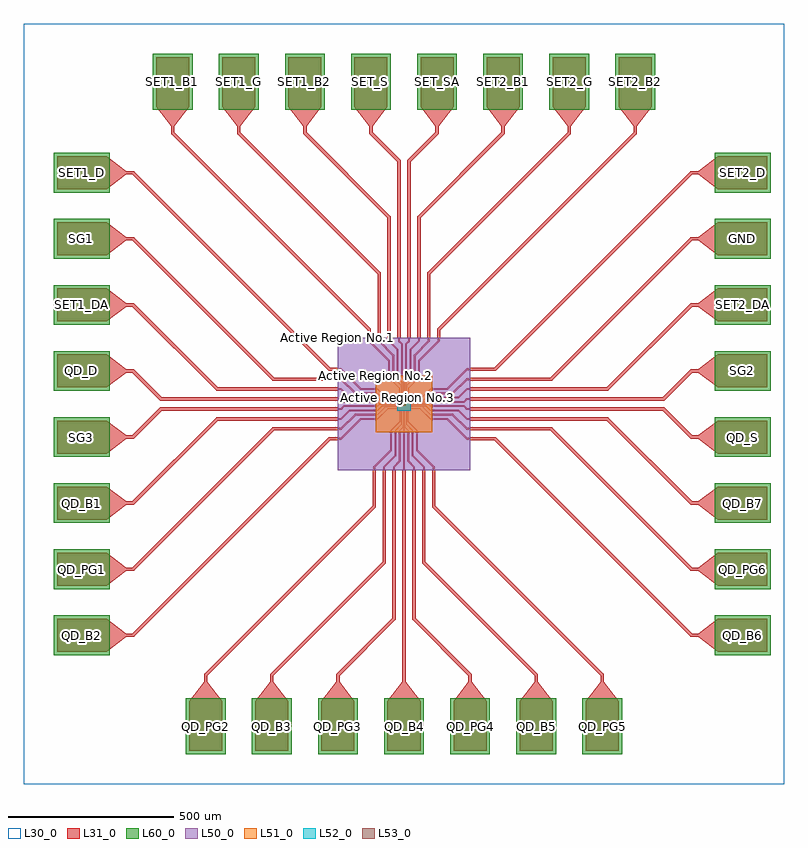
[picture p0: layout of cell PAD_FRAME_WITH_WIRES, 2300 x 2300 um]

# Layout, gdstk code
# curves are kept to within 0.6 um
import gdstk
lib = gdstk.Library(unit=1e-6, precision=1e-09)
def R(c, l, rs):  # rectangles x0, y0, x1, y1
    for r in rs: c.add(gdstk.rectangle(r[:2], r[2:], *l))
def A(c, l, x, y, w, h, nx, ny, dx, dy):  # array of equal rectangles
    R(c, l, [(x+i*dx, y+j*dy, x+i*dx+w, y+j*dy+h) for i in range(nx) for j in range(ny)])
def P(c, l, *ps):  # polygons
    for p in ps: c.add(gdstk.Polygon(p, *l))
L30_0 = (30, 0)
L31_0 = (31, 0)
L50_0 = (50, 0)
L51_0 = (51, 0)
L52_0 = (52, 0)
L53_0 = (53, 0)
L60_0 = (60, 0)

pad_frame_with_wires = lib.new_cell('PAD_FRAME_WITH_WIRES')
R(pad_frame_with_wires, L30_0, [(0,0,2300,2300)])
A(pad_frame_with_wires, L31_0, 500, 100, 100, 150, 7, 1, 200, 0)
A(pad_frame_with_wires, L31_0, 100, 400, 150, 100, 1, 8, 0, 200)
A(pad_frame_with_wires, L31_0, 2100, 400, 150, 100, 1, 8, 0, 200)
A(pad_frame_with_wires, L31_0, 400, 2050, 100, 150, 8, 1, 200, 0)
P(pad_frame_with_wires, L31_0, [(400,2050),(500,2050),(455,1990),(445,1990)],
  [(600,2050),(700,2050),(655,1990),(645,1990)],
  [(800,2050),(900,2050),(855,1990),(845,1990)],
  [(1000,2050),(1100,2050),(1055,1990),(1045,1990)],
  [(1200,2050),(1300,2050),(1255,1990),(1245,1990)],
  [(1400,2050),(1500,2050),(1455,1990),(1445,1990)],
  [(1600,2050),(1700,2050),(1655,1990),(1645,1990)],
  [(1800,2050),(1900,2050),(1855,1990),(1845,1990)],
  [(500,250),(600,250),(555,310),(545,310)],
  [(700,250),(800,250),(755,310),(745,310)],
  [(900,250),(1000,250),(955,310),(945,310)],
  [(1100,250),(1200,250),(1155,310),(1145,310)],
  [(1300,250),(1400,250),(1355,310),(1345,310)],
  [(1500,250),(1600,250),(1555,310),(1545,310)],
  [(1700,250),(1800,250),(1755,310),(1745,310)],
  [(250,1800),(250,1900),(310,1855),(310,1845)],
  [(250,1600),(250,1700),(310,1655),(310,1645)],
  [(250,1400),(250,1500),(310,1455),(310,1445)],
  [(250,1200),(250,1300),(310,1255),(310,1245)],
  [(250,1000),(250,1100),(310,1055),(310,1045)],
  [(250,800),(250,900),(310,855),(310,845)],
  [(250,600),(250,700),(310,655),(310,645)],
  [(250,400),(250,500),(310,455),(310,445)],
  [(2100,1800),(2100,1900),(2040,1855),(2040,1845)],
  [(2100,1600),(2100,1700),(2040,1655),(2040,1645)],
  [(2100,1400),(2100,1500),(2040,1455),(2040,1445)],
  [(2100,1200),(2100,1300),(2040,1255),(2040,1245)],
  [(2100,1000),(2100,1100),(2040,1055),(2040,1045)],
  [(2100,800),(2100,900),(2040,855),(2040,845)],
  [(2100,600),(2100,700),(2040,655),(2040,645)],
  [(2100,400),(2100,500),(2040,455),(2040,445)],
  [(455,1990),(445,1990),(445,1970),(446.464,1966.464),(1040,1372.929),(1040,1350),(1050,1350),(1050,1375),(1048.536,1378.536),(455,1972.071)],
  [(1047.5,1350),(1042.5,1350),(1042.921,1338.611),(1102,1279.464),(1102,1235),(1107,1235),(1106.81,1281.457),(1047.5,1341.036)],
  [(1105,1235),(1104,1235),(1104,1230),(1104.146,1229.646),(1135.5,1198.293),(1135.5,1170),(1136.5,1170),(1136.433,1198.75),(1105,1230.207)],
  [(1136.1,1170),(1135.9,1170),(1135.9,1168),(1135.929,1167.929),(1147.45,1156.409),(1147.45,1155),(1147.65,1155),(1147.65,1156.45),(1147.621,1156.521),(1136.1,1168.041)],
  [(655,1990),(645,1990),(645,1970),(646.464,1966.464),(1070,1542.929),(1070,1350),(1080,1350),(1080,1545),(1079.33,1547.5),(655,1972.071)],
  [(1077.5,1350),(1072.5,1350),(1072.921,1338.611),(1115,1296.464),(1115,1235),(1120,1235),(1119.81,1298.457),(1077.5,1341.036)],
  [(1118,1235),(1117,1235),(1117,1230),(1117.146,1229.646),(1139.5,1207.293),(1139.5,1170),(1140.5,1170),(1140.483,1207.629),(1118,1230.207)],
  [(1140.1,1170),(1139.9,1170),(1139.9,1168),(1139.929,1167.929),(1148.15,1159.709),(1148.15,1155),(1148.35,1155),(1148.337,1159.8),(1140.1,1168.041)],
  [(855,1990),(845,1990),(845,1970),(846.464,1966.464),(1100,1712.929),(1100,1350),(1110,1350),(1109.619,1716.913),(855,1972.071)],
  [(1107.5,1350),(1102.5,1350),(1102.921,1338.611),(1128,1313.464),(1128,1235),(1133,1235),(1132.952,1314.988),(1107.5,1341.036)],
  [(1131,1235),(1130,1235),(1130.067,1229.75),(1143.5,1216.293),(1143.5,1170),(1144.5,1170),(1144.483,1216.629),(1131,1230.207)],
  [(1144.1,1170),(1143.9,1170),(1143.913,1167.95),(1148.85,1163.009),(1148.85,1155),(1149.05,1155),(1149.047,1163.076),(1144.1,1168.041)],
  [(1055,1990),(1045,1990),(1045,1970),(1046.033,1966.956),(1130,1882.929),(1130,1350),(1140,1350),(1139.957,1885.653),(1138.536,1888.536),(1055,1972.071)],
  [(1137.5,1350),(1132.5,1350),(1132.5,1340),(1133.232,1338.232),(1141,1330.464),(1141,1235),(1146,1235),(1146,1331.5),(1145.268,1333.268),(1137.5,1341.036)],
  [(1144,1235),(1143,1235),(1143.017,1229.871),(1147.5,1225.293),(1147.5,1170),(1148.5,1170),(1148.5,1225.5),(1148.354,1225.854),(1144,1230.207)],
  [(1148.1,1170),(1147.9,1170),(1147.903,1167.974),(1149.55,1166.309),(1149.55,1155),(1149.75,1155),(1149.75,1166.35),(1149.721,1166.421),(1148.1,1168.041)],
  [(1255,1990),(1245,1990),(1245,1972.071),(1161.464,1888.536),(1160.043,1885.653),(1160,1350),(1170,1350),(1170,1882.929),(1253.967,1966.956),(1255,1970)],
  [(1167.5,1350),(1162.5,1350),(1162.5,1341.036),(1154.048,1331.988),(1154,1235),(1159,1235),(1159,1330.464),(1167.31,1339.043)],
  [(1157,1235),(1156,1235),(1156,1230.207),(1151.646,1225.854),(1151.5,1225.5),(1151.5,1170),(1152.5,1170),(1152.5,1225.293),(1156.933,1229.75)],
  [(1152.1,1170),(1151.9,1170),(1151.9,1168.041),(1150.253,1166.376),(1150.25,1155),(1150.45,1155),(1150.45,1166.309),(1152.087,1167.95)],
  [(1455,1990),(1445,1990),(1445,1972.071),(1190.381,1716.913),(1190,1350),(1200,1350),(1200,1712.929),(1453.536,1966.464),(1455,1970)],
  [(1197.5,1350),(1192.5,1350),(1192.5,1341.036),(1167.048,1314.988),(1167,1235),(1172,1235),(1172,1313.464),(1197.079,1338.611)],
  [(1170,1235),(1169,1235),(1169,1230.207),(1155.517,1216.629),(1155.5,1170),(1156.5,1170),(1156.5,1216.293),(1169.933,1229.75)],
  [(1156.1,1170),(1155.9,1170),(1155.9,1168.041),(1150.953,1163.076),(1150.95,1155),(1151.15,1155),(1151.15,1163.009),(1156.087,1167.95)],
  [(1655,1990),(1645,1990),(1645,1972.071),(1221.033,1548.044),(1220,1545),(1220,1350),(1230,1350),(1230,1542.929),(1653.536,1966.464),(1655,1970)],
  [(1227.5,1350),(1222.5,1350),(1222.5,1341.036),(1180.19,1298.457),(1180,1235),(1185,1235),(1185,1296.464),(1227.079,1338.611)],
  [(1183,1235),(1182,1235),(1182,1230.207),(1159.517,1207.629),(1159.5,1170),(1160.5,1170),(1160.5,1207.293),(1182.854,1229.646),(1183,1230)],
  [(1160.1,1170),(1159.9,1170),(1159.9,1168.041),(1151.663,1159.8),(1151.65,1155),(1151.85,1155),(1151.85,1159.709),(1160.071,1167.929),(1160.1,1168)],
  [(1855,1990),(1845,1990),(1845,1972.071),(1251.464,1378.536),(1250,1375),(1250,1350),(1260,1350),(1260,1372.929),(1853.536,1966.464),(1855,1970)],
  [(1257.5,1350),(1252.5,1350),(1252.5,1341.036),(1193.421,1281.889),(1193,1235),(1198,1235),(1198,1279.464),(1256.768,1338.232),(1257.5,1340)],
  [(1196,1235),(1195,1235),(1195,1230.207),(1163.567,1198.75),(1163.5,1170),(1164.5,1170),(1164.5,1198.293),(1195.854,1229.646),(1196,1230)],
  [(1164.1,1170),(1163.9,1170),(1163.9,1168.041),(1152.379,1156.521),(1152.35,1156.45),(1152.35,1155),(1152.55,1155),(1152.55,1156.409),(1164.071,1167.929),(1164.1,1168)],
  [(545,310),(555,310),(555,327.929),(1063.967,836.956),(1065,840),(1065,950),(1055,950),(1055,842.071),(546.464,333.536),(545,330)],
  [(1057.5,950),(1062.5,950),(1062.5,958.964),(1113.31,1010.043),(1113.5,1065),(1108.5,1065),(1108.5,1012.036),(1058.232,961.768),(1057.5,960)],
  [(1110.5,1065),(1111.5,1065),(1111.5,1069.793),(1138.433,1096.75),(1138.5,1130),(1137.5,1130),(1137.5,1097.207),(1110.646,1070.354),(1110.5,1070)],
  [(1137.9,1130),(1138.1,1130),(1138.1,1131.959),(1147.987,1141.85),(1148,1145),(1147.8,1145),(1147.8,1141.941),(1137.929,1132.071),(1137.9,1132)],
  [(745,310),(755,310),(755,327.929),(1094.33,667.5),(1095,670),(1095,950),(1085,950),(1085,672.071),(746.464,333.536),(745,330)],
  [(1087.5,950),(1092.5,950),(1092.5,958.964),(1126.31,993.043),(1126.5,1065),(1121.5,1065),(1121.5,995.036),(1087.921,961.389)],
  [(1123.5,1065),(1124.5,1065),(1124.5,1069.793),(1142.483,1087.871),(1142.5,1130),(1141.5,1130),(1141.5,1088.207),(1123.646,1070.354),(1123.5,1070)],
  [(1141.9,1130),(1142.1,1130),(1142.1,1131.959),(1148.687,1138.55),(1148.7,1145),(1148.5,1145),(1148.5,1138.641),(1141.929,1132.071),(1141.9,1132)],
  [(945,310),(955,310),(955,327.929),(1123.536,496.464),(1124.83,498.706),(1125,950),(1115,950),(1115,502.071),(946.464,333.536),(945,330)],
  [(1117.5,950),(1122.5,950),(1122.5,958.964),(1139.452,976.512),(1139.5,1065),(1134.5,1065),(1134.5,978.036),(1117.921,961.389)],
  [(1136.5,1065),(1137.5,1065),(1137.5,1069.793),(1146.483,1078.871),(1146.5,1130),(1145.5,1130),(1145.5,1079.207),(1136.567,1070.25)],
  [(1145.9,1130),(1146.1,1130),(1146.1,1131.959),(1149.397,1135.274),(1149.4,1145),(1149.2,1145),(1149.2,1135.341),(1145.913,1132.05)],
  [(1145,310),(1155,310),(1155,330),(1155,330),(1155,330),(1155,330),(1155,950),(1145,950),(1145,330),(1145,330),(1145,330),(1145,330)],
  [(1147.5,950),(1152.5,950),(1152.5,960),(1152.5,960),(1152.5,960),(1152.5,960),(1152.5,1065),(1147.5,1065),(1147.5,960),(1147.5,960),(1147.5,960),(1147.5,960)],
  [(1149.5,1065),(1150.5,1065),(1150.5,1070),(1150.5,1070),(1150.5,1070),(1150.5,1070),(1150.5,1130),(1149.5,1130),(1149.5,1070),(1149.5,1070),(1149.5,1070),(1149.5,1070)],
  [(1149.9,1130),(1150.1,1130),(1150.1,1132),(1150.1,1132),(1150.1,1132),(1150.1,1132),(1150.1,1145),(1149.9,1145),(1149.9,1132),(1149.9,1132),(1149.9,1132),(1149.9,1132)],
  [(1345,310),(1355,310),(1355,330),(1353.967,333.044),(1185,502.071),(1185,950),(1175,950),(1175.17,498.706),(1176.464,496.464),(1345,327.929)],
  [(1177.5,950),(1182.5,950),(1182.31,960.957),(1165.5,978.036),(1165.5,1065),(1160.5,1065),(1160.548,976.512),(1177.5,958.964)],
  [(1162.5,1065),(1163.5,1065),(1163.433,1070.25),(1154.5,1079.207),(1154.5,1130),(1153.5,1130),(1153.517,1078.871),(1162.5,1069.793)],
  [(1153.9,1130),(1154.1,1130),(1154.087,1132.05),(1150.8,1135.341),(1150.8,1145),(1150.6,1145),(1150.603,1135.274),(1153.9,1131.959)],
  [(1545,310),(1555,310),(1555,330),(1553.536,333.536),(1215,672.071),(1215,950),(1205,950),(1205,670),(1205.67,667.5),(1545,327.929)],
  [(1207.5,950),(1212.5,950),(1212.079,961.389),(1178.5,995.036),(1178.5,1065),(1173.5,1065),(1173.548,993.512),(1207.5,958.964)],
  [(1175.5,1065),(1176.5,1065),(1176.433,1070.25),(1158.5,1088.207),(1158.5,1130),(1157.5,1130),(1157.517,1087.871),(1175.5,1069.793)],
  [(1157.9,1130),(1158.1,1130),(1158.087,1132.05),(1151.5,1138.641),(1151.5,1145),(1151.3,1145),(1151.313,1138.55),(1157.9,1131.959)],
  [(1745,310),(1755,310),(1755,330),(1753.536,333.536),(1245,842.071),(1245,950),(1235,950),(1235,840),(1236.033,836.956),(1745,327.929)],
  [(1237.5,950),(1242.5,950),(1242.079,961.389),(1191.5,1012.036),(1191.5,1065),(1186.5,1065),(1186.69,1010.043),(1237.5,958.964)],
  [(1188.5,1065),(1189.5,1065),(1189.5,1070),(1189.354,1070.354),(1162.5,1097.207),(1162.5,1130),(1161.5,1130),(1161.567,1096.75),(1188.5,1069.793)],
  [(1161.9,1130),(1162.1,1130),(1162.1,1132),(1162.071,1132.071),(1152.2,1141.941),(1152.2,1145),(1152,1145),(1152.013,1141.85),(1161.9,1131.959)],
  [(310,1855),(310,1845),(327.929,1845),(921.464,1251.464),(925,1250),(950,1250),(950,1260),(927.071,1260),(333.536,1853.536),(330,1855)],
  [(950,1257.5),(950,1252.5),(958.964,1252.5),(1018.111,1193.421),(1065,1193),(1065,1198),(1020.536,1198),(961.768,1256.768),(960,1257.5)],
  [(1065,1196),(1065,1195),(1069.793,1195),(1101.25,1163.567),(1130,1163.5),(1130,1164.5),(1101.707,1164.5),(1070.354,1195.854),(1070,1196)],
  [(1130,1164.1),(1130,1163.9),(1131.959,1163.9),(1143.479,1152.379),(1143.55,1152.35),(1145,1152.35),(1145,1152.55),(1143.591,1152.55),(1132.071,1164.071),(1132,1164.1)],
  [(310,1655),(310,1645),(327.929,1645),(751.956,1221.033),(755,1220),(950,1220),(950,1230),(757.071,1230),(333.536,1653.536),(330,1655)],
  [(950,1227.5),(950,1222.5),(958.964,1222.5),(1001.543,1180.19),(1065,1180),(1065,1185),(1003.536,1185),(961.389,1227.079)],
  [(1065,1183),(1065,1182),(1069.793,1182),(1092.371,1159.517),(1130,1159.5),(1130,1160.5),(1092.707,1160.5),(1070.354,1182.854),(1070,1183)],
  [(1130,1160.1),(1130,1159.9),(1131.959,1159.9),(1140.2,1151.663),(1145,1151.65),(1145,1151.85),(1140.291,1151.85),(1132.071,1160.071),(1132,1160.1)],
  [(310,1455),(310,1445),(327.929,1445),(583.087,1190.381),(950,1190),(950,1200),(587.071,1200),(333.536,1453.536),(330,1455)],
  [(950,1197.5),(950,1192.5),(958.964,1192.5),(985.012,1167.048),(1065,1167),(1065,1172),(986.536,1172),(961.389,1197.079)],
  [(1065,1170),(1065,1169),(1069.793,1169),(1083.371,1155.517),(1130,1155.5),(1130,1156.5),(1083.707,1156.5),(1070.25,1169.933)],
  [(1130,1156.1),(1130,1155.9),(1131.959,1155.9),(1136.924,1150.953),(1145,1150.95),(1145,1151.15),(1136.991,1151.15),(1132.05,1156.087)],
  [(310,1255),(310,1245),(327.929,1245),(411.464,1161.464),(414.347,1160.043),(950,1160),(950,1170),(417.071,1170),(333.044,1253.967),(330,1255)],
  [(950,1167.5),(950,1162.5),(958.964,1162.5),(968.012,1154.048),(1065,1154),(1065,1159),(969.536,1159),(960.957,1167.31)],
  [(1065,1157),(1065,1156),(1069.793,1156),(1074.146,1151.646),(1074.5,1151.5),(1130,1151.5),(1130,1152.5),(1074.707,1152.5),(1070.25,1156.933)],
  [(1130,1152.1),(1130,1151.9),(1131.959,1151.9),(1133.624,1150.253),(1145,1150.25),(1145,1150.45),(1133.691,1150.45),(1132.05,1152.087)],
  [(310,1055),(310,1045),(330,1045),(333.044,1046.033),(417.071,1130),(950,1130),(950,1140),(414.347,1139.957),(411.464,1138.536),(327.929,1055)],
  [(950,1137.5),(950,1132.5),(960,1132.5),(961.768,1133.232),(969.536,1141),(1065,1141),(1065,1146),(968.5,1146),(966.732,1145.268),(958.964,1137.5)],
  [(1065,1144),(1065,1143),(1070.129,1143.017),(1074.707,1147.5),(1130,1147.5),(1130,1148.5),(1074.5,1148.5),(1074.146,1148.354),(1069.793,1144)],
  [(1130,1148.1),(1130,1147.9),(1132.026,1147.903),(1133.691,1149.55),(1145,1149.55),(1145,1149.75),(1133.65,1149.75),(1133.579,1149.721),(1131.959,1148.1)],
  [(310,855),(310,845),(330,845),(333.536,846.464),(587.071,1100),(950,1100),(950,1110),(583.087,1109.619),(327.929,855)],
  [(950,1107.5),(950,1102.5),(961.389,1102.921),(986.536,1128),(1065,1128),(1065,1133),(985.012,1132.952),(958.964,1107.5)],
  [(1065,1131),(1065,1130),(1070.25,1130.067),(1083.707,1143.5),(1130,1143.5),(1130,1144.5),(1083.371,1144.483),(1069.793,1131)],
  [(1130,1144.1),(1130,1143.9),(1132.05,1143.913),(1136.991,1148.85),(1145,1148.85),(1145,1149.05),(1136.924,1149.047),(1131.959,1144.1)],
  [(310,655),(310,645),(330,645),(333.536,646.464),(757.071,1070),(950,1070),(950,1080),(755,1080),(752.5,1079.33),(327.929,655)],
  [(950,1077.5),(950,1072.5),(961.389,1072.921),(1003.536,1115),(1065,1115),(1065,1120),(1001.543,1119.81),(958.964,1077.5)],
  [(1065,1118),(1065,1117),(1070,1117),(1070.354,1117.146),(1092.707,1139.5),(1130,1139.5),(1130,1140.5),(1092.371,1140.483),(1069.793,1118)],
  [(1130,1140.1),(1130,1139.9),(1132,1139.9),(1132.071,1139.929),(1140.291,1148.15),(1145,1148.15),(1145,1148.35),(1140.2,1148.337),(1131.959,1140.1)],
  [(310,455),(310,445),(330,445),(333.536,446.464),(927.071,1040),(950,1040),(950,1050),(925,1050),(921.464,1048.536),(327.929,455)],
  [(950,1047.5),(950,1042.5),(961.389,1042.921),(1020.536,1102),(1065,1102),(1065,1107),(1018.543,1106.81),(958.964,1047.5)],
  [(1065,1105),(1065,1104),(1070,1104),(1070.354,1104.146),(1101.707,1135.5),(1130,1135.5),(1130,1136.5),(1101.25,1136.433),(1069.793,1105)],
  [(1130,1136.1),(1130,1135.9),(1132,1135.9),(1132.071,1135.929),(1143.591,1147.45),(1145,1147.45),(1145,1147.65),(1143.55,1147.65),(1143.479,1147.621),(1131.959,1136.1)],
  [(2040,1845),(2040,1855),(2020,1855),(2016.464,1853.536),(1422.929,1260),(1350,1260),(1350,1250),(1425,1250),(1428.044,1251.033),(2022.071,1845)],
  [(1350,1252.5),(1350,1257.5),(1338.611,1257.079),(1279.464,1198),(1235,1198),(1235,1193),(1281.457,1193.19),(1341.036,1252.5)],
  [(1235,1195),(1235,1196),(1230,1196),(1229.646,1195.854),(1198.293,1164.5),(1170,1164.5),(1170,1163.5),(1198.75,1163.567),(1230.207,1195)],
  [(1170,1163.9),(1170,1164.1),(1168,1164.1),(1167.929,1164.071),(1156.409,1152.55),(1155,1152.55),(1155,1152.35),(1156.45,1152.35),(1156.521,1152.379),(1168.041,1163.9)],
  [(2040,1645),(2040,1655),(2020,1655),(2016.464,1653.536),(1592.929,1230),(1350,1230),(1350,1220),(1595,1220),(1597.5,1220.67),(2022.071,1645)],
  [(1350,1222.5),(1350,1227.5),(1338.611,1227.079),(1296.464,1185),(1235,1185),(1235,1180),(1298.457,1180.19),(1341.036,1222.5)],
  [(1235,1182),(1235,1183),(1230,1183),(1229.646,1182.854),(1207.293,1160.5),(1170,1160.5),(1170,1159.5),(1207.629,1159.517),(1230.207,1182)],
  [(1170,1159.9),(1170,1160.1),(1168,1160.1),(1167.929,1160.071),(1159.709,1151.85),(1155,1151.85),(1155,1151.65),(1159.8,1151.663),(1168.041,1159.9)],
  [(2040,1445),(2040,1455),(2020,1455),(2016.464,1453.536),(1762.929,1200),(1350,1200),(1350,1190),(1766.913,1190.381),(2022.071,1445)],
  [(1350,1192.5),(1350,1197.5),(1338.611,1197.079),(1313.464,1172),(1235,1172),(1235,1167),(1314.988,1167.048),(1341.036,1192.5)],
  [(1235,1169),(1235,1170),(1229.75,1169.933),(1216.293,1156.5),(1170,1156.5),(1170,1155.5),(1216.629,1155.517),(1230.207,1169)],
  [(1170,1155.9),(1170,1156.1),(1167.95,1156.087),(1163.009,1151.15),(1155,1151.15),(1155,1150.95),(1163.076,1150.953),(1168.041,1155.9)],
  [(2040,1245),(2040,1255),(2020,1255),(2016.956,1253.967),(1932.929,1170),(1350,1170),(1350,1160),(1935.653,1160.043),(1938.536,1161.464),(2022.071,1245)],
  [(1350,1162.5),(1350,1167.5),(1340,1167.5),(1338.232,1166.768),(1330.464,1159),(1235,1159),(1235,1154),(1331.5,1154),(1333.268,1154.732),(1341.036,1162.5)],
  [(1235,1156),(1235,1157),(1229.871,1156.983),(1225.293,1152.5),(1170,1152.5),(1170,1151.5),(1225.5,1151.5),(1225.854,1151.646),(1230.207,1156)],
  [(1170,1151.9),(1170,1152.1),(1167.974,1152.097),(1166.309,1150.45),(1155,1150.45),(1155,1150.25),(1166.35,1150.25),(1166.421,1150.279),(1168.041,1151.9)],
  [(2040,1045),(2040,1055),(2022.071,1055),(1938.536,1138.536),(1935.653,1139.957),(1350,1140),(1350,1130),(1932.929,1130),(2016.956,1046.033),(2020,1045)],
  [(1350,1132.5),(1350,1137.5),(1341.036,1137.5),(1331.988,1145.952),(1235,1146),(1235,1141),(1330.464,1141),(1339.043,1132.69)],
  [(1235,1143),(1235,1144),(1230.207,1144),(1225.854,1148.354),(1225.5,1148.5),(1170,1148.5),(1170,1147.5),(1225.293,1147.5),(1229.75,1143.067)],
  [(1170,1147.9),(1170,1148.1),(1168.041,1148.1),(1166.376,1149.747),(1155,1149.75),(1155,1149.55),(1166.309,1149.55),(1167.95,1147.913)],
  [(2040,845),(2040,855),(2022.071,855),(1766.913,1109.619),(1350,1110),(1350,1100),(1762.929,1100),(2016.464,846.464),(2020,845)],
  [(1350,1102.5),(1350,1107.5),(1341.036,1107.5),(1314.988,1132.952),(1235,1133),(1235,1128),(1313.464,1128),(1338.611,1102.921)],
  [(1235,1130),(1235,1131),(1230.207,1131),(1216.629,1144.483),(1170,1144.5),(1170,1143.5),(1216.293,1143.5),(1229.75,1130.067)],
  [(1170,1143.9),(1170,1144.1),(1168.041,1144.1),(1163.076,1149.047),(1155,1149.05),(1155,1148.85),(1163.009,1148.85),(1167.95,1143.913)],
  [(2040,645),(2040,655),(2022.071,655),(1597.5,1079.33),(1595,1080),(1350,1080),(1350,1070),(1592.929,1070),(2016.464,646.464),(2020,645)],
  [(1350,1072.5),(1350,1077.5),(1341.036,1077.5),(1298.457,1119.81),(1235,1120),(1235,1115),(1296.464,1115),(1338.611,1072.921)],
  [(1235,1117),(1235,1118),(1230.207,1118),(1207.629,1140.483),(1170,1140.5),(1170,1139.5),(1207.293,1139.5),(1229.646,1117.146),(1230,1117)],
  [(1170,1139.9),(1170,1140.1),(1168.041,1140.1),(1159.8,1148.337),(1155,1148.35),(1155,1148.15),(1159.709,1148.15),(1167.929,1139.929),(1168,1139.9)],
  [(2040,445),(2040,455),(2022.071,455),(1428.536,1048.536),(1425,1050),(1350,1050),(1350,1040),(1422.929,1040),(2016.464,446.464),(2020,445)],
  [(1350,1042.5),(1350,1047.5),(1341.036,1047.5),(1281.889,1106.579),(1235,1107),(1235,1102),(1279.464,1102),(1338.232,1043.232),(1340,1042.5)],
  [(1235,1104),(1235,1105),(1230.207,1105),(1198.75,1136.433),(1170,1136.5),(1170,1135.5),(1198.293,1135.5),(1229.646,1104.146),(1230,1104)],
  [(1170,1135.9),(1170,1136.1),(1168.041,1136.1),(1156.521,1147.621),(1156.45,1147.65),(1155,1147.65),(1155,1147.45),(1156.409,1147.45),(1167.929,1135.929),(1168,1135.9)])
R(pad_frame_with_wires, L50_0, [(950,950,1350,1350)])
R(pad_frame_with_wires, L51_0, [(1065,1065,1235,1235)])
R(pad_frame_with_wires, L52_0, [(1130,1130,1170,1170)])
R(pad_frame_with_wires, L53_0, [(1145,1145,1155,1155)])
A(pad_frame_with_wires, L60_0, 490, 90, 120, 170, 7, 1, 200, 0)
A(pad_frame_with_wires, L60_0, 90, 390, 170, 120, 1, 8, 0, 200)
A(pad_frame_with_wires, L60_0, 2090, 390, 170, 120, 1, 8, 0, 200)
A(pad_frame_with_wires, L60_0, 390, 2040, 120, 170, 8, 1, 200, 0)
pad_frame_with_wires.add(gdstk.Label('Active Region No.1', (950,1350), layer=40, texttype=0))
pad_frame_with_wires.add(gdstk.Label('Active Region No.2', (1065,1235), layer=40, texttype=0))
pad_frame_with_wires.add(gdstk.Label('Active Region No.3', (1130,1170), layer=40, texttype=0))
pad_frame_with_wires.add(gdstk.Label('Active Region No.4', (1145,1155), layer=40, texttype=0))
pad_frame_with_wires.add(gdstk.Label('SET1_B1', (450,2125), layer=40, texttype=0))
pad_frame_with_wires.add(gdstk.Label('SET1_G', (650,2125), layer=40, texttype=0))
pad_frame_with_wires.add(gdstk.Label('SET1_B2', (850,2125), layer=40, texttype=0))
pad_frame_with_wires.add(gdstk.Label('SET_S', (1050,2125), layer=40, texttype=0))
pad_frame_with_wires.add(gdstk.Label('SET_SA', (1250,2125), layer=40, texttype=0))
pad_frame_with_wires.add(gdstk.Label('SET2_B1', (1450,2125), layer=40, texttype=0))
pad_frame_with_wires.add(gdstk.Label('SET2_G', (1650,2125), layer=40, texttype=0))
pad_frame_with_wires.add(gdstk.Label('SET2_B2', (1850,2125), layer=40, texttype=0))
pad_frame_with_wires.add(gdstk.Label('QD_PG2', (550,175), layer=40, texttype=0))
pad_frame_with_wires.add(gdstk.Label('QD_B3', (750,175), layer=40, texttype=0))
pad_frame_with_wires.add(gdstk.Label('QD_PG3', (950,175), layer=40, texttype=0))
pad_frame_with_wires.add(gdstk.Label('QD_B4', (1150,175), layer=40, texttype=0))
pad_frame_with_wires.add(gdstk.Label('QD_PG4', (1350,175), layer=40, texttype=0))
pad_frame_with_wires.add(gdstk.Label('QD_B5', (1550,175), layer=40, texttype=0))
pad_frame_with_wires.add(gdstk.Label('QD_PG5', (1750,175), layer=40, texttype=0))
pad_frame_with_wires.add(gdstk.Label('SET1_D', (175,1850), layer=40, texttype=0))
pad_frame_with_wires.add(gdstk.Label('SG1', (175,1650), layer=40, texttype=0))
pad_frame_with_wires.add(gdstk.Label('SET1_DA', (175,1450), layer=40, texttype=0))
pad_frame_with_wires.add(gdstk.Label('QD_D', (175,1250), layer=40, texttype=0))
pad_frame_with_wires.add(gdstk.Label('SG3', (175,1050), layer=40, texttype=0))
pad_frame_with_wires.add(gdstk.Label('QD_B1', (175,850), layer=40, texttype=0))
pad_frame_with_wires.add(gdstk.Label('QD_PG1', (175,650), layer=40, texttype=0))
pad_frame_with_wires.add(gdstk.Label('QD_B2', (175,450), layer=40, texttype=0))
pad_frame_with_wires.add(gdstk.Label('SET2_D', (2175,1850), layer=40, texttype=0))
pad_frame_with_wires.add(gdstk.Label('GND', (2175,1650), layer=40, texttype=0))
pad_frame_with_wires.add(gdstk.Label('SET2_DA', (2175,1450), layer=40, texttype=0))
pad_frame_with_wires.add(gdstk.Label('SG2', (2175,1250), layer=40, texttype=0))
pad_frame_with_wires.add(gdstk.Label('QD_S', (2175,1050), layer=40, texttype=0))
pad_frame_with_wires.add(gdstk.Label('QD_B7', (2175,850), layer=40, texttype=0))
pad_frame_with_wires.add(gdstk.Label('QD_PG6', (2175,650), layer=40, texttype=0))
pad_frame_with_wires.add(gdstk.Label('QD_B6', (2175,450), layer=40, texttype=0))

lib.write_gds('PAD_FRAME_WITH_WIRES.gds')
